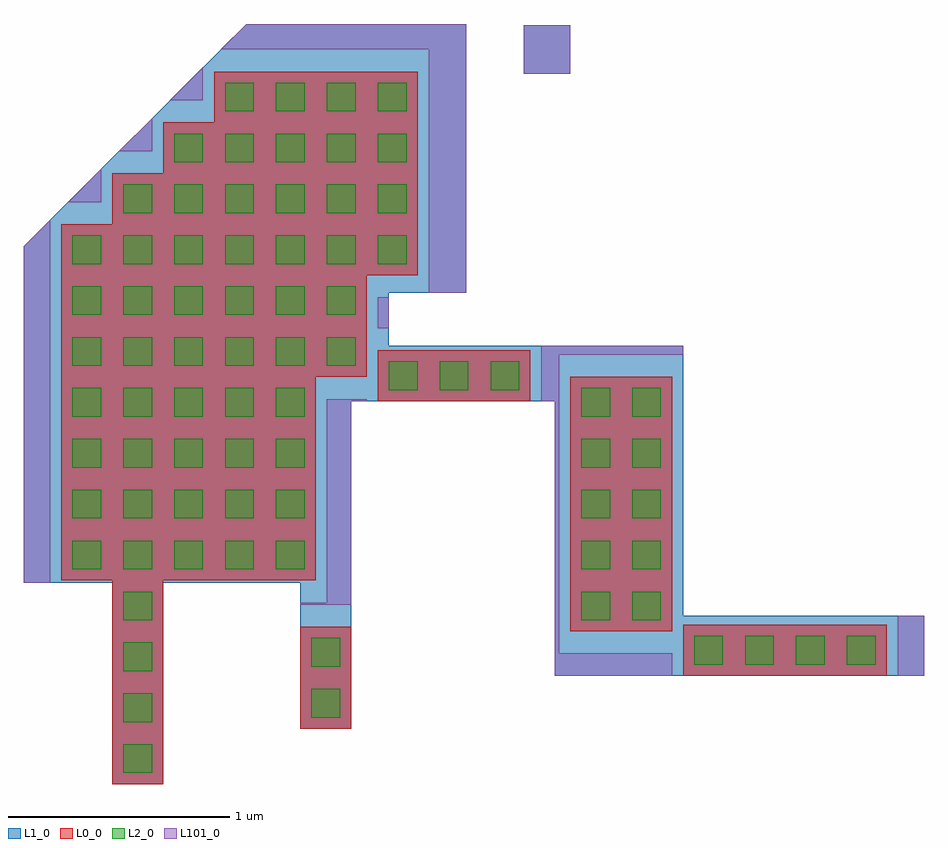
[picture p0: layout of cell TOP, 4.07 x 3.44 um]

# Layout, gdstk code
import gdstk
lib = gdstk.Library(unit=1e-6, precision=1e-09)
def R(c, l, rs):  # rectangles x0, y0, x1, y1
    for r in rs: c.add(gdstk.rectangle(r[:2], r[2:], *l))
def P(c, l, *ps):  # polygons
    for p in ps: c.add(gdstk.Polygon(p, *l))
L0_0 = (0, 0)
L1_0 = (1, 0)
L2_0 = (2, 0)
L101_0 = (101, 0)

fill_cell = lib.new_cell('FILL_CELL')
R(fill_cell, L0_0, [(-0.1,-0.13,0.13,0.1)])
R(fill_cell, L2_0, [(-0.05,-0.08,0.08,0.05)])

top = lib.new_cell('TOP')
R(top, L1_0, [(1.76,1.79,1.97,2.01)])
P(top, L1_0, [(-0.1,-1.42),(-0.1,-0.51),(-0.5,-0.51),(-0.5,1.01),(0.505,2.015),(1.5,2.015),(1.5,0.8),(1.15,0.8),(1.15,0.56),(2.48,0.56),(2.48,-0.66),(3.57,-0.66),(3.57,-0.93),(1.9,-0.93),(1.9,0.31),(0.98,0.31),(0.98,-1.17),(0.75,-1.17),(0.75,-0.51),(0.13,-0.51),(0.13,-1.42)])
R(top, L101_0, [(3.45,-0.93,3.57,-0.66), (1.1,0.64,1.15,0.78), (1.76,1.79,1.97,2.01)])
P(top, L101_0, [(-0.5,-0.51),(-0.5,1.01),(-0.38,1.13),(-0.38,-0.51)],
  [(-0.3,1.21),(-0.15,1.36),(-0.15,1.21)],
  [(-0.07,1.44),(0.08,1.59),(0.08,1.44)],
  [(0.16,1.67),(0.31,1.82),(0.31,1.67)],
  [(1.33,0.8),(1.33,1.9),(0.39,1.9),(0.505,2.015),(1.5,2.015),(1.5,0.8)],
  [(0.75,-0.61),(0.75,-0.6),(0.87,-0.6),(0.87,0.32),(1.05,0.32),(1.05,0.31),(0.98,0.31),(0.98,-0.61)],
  [(1.9,-0.93),(1.9,0.31),(1.84,0.31),(1.84,0.56),(2.48,0.56),(2.48,0.52),(1.92,0.52),(1.92,-0.83),(2.43,-0.83),(2.43,-0.93)])
r = gdstk.Reference(fill_cell, (-0.23,-0.37)); r.repetition = gdstk.Repetition(1, 7, v1=(0,0), v2=(0,0.23)); top.add(r)
r = gdstk.Reference(fill_cell, (0,-1.29)); r.repetition = gdstk.Repetition(1, 12, v1=(0,0), v2=(0,0.23)); top.add(r)
r = gdstk.Reference(fill_cell, (0.23,-0.37)); r.repetition = gdstk.Repetition(1, 9, v1=(0,0), v2=(0,0.23)); top.add(r)
r = gdstk.Reference(fill_cell, (0.46,-0.37)); r.repetition = gdstk.Repetition(1, 10, v1=(0,0), v2=(0,0.23)); top.add(r)
r = gdstk.Reference(fill_cell, (0.69,-0.37)); r.repetition = gdstk.Repetition(1, 10, v1=(0,0), v2=(0,0.23)); top.add(r)
r = gdstk.Reference(fill_cell, (0.92,0.55)); r.repetition = gdstk.Repetition(1, 6, v1=(0,0), v2=(0,0.23)); top.add(r)
r = gdstk.Reference(fill_cell, (1.15,1.01)); r.repetition = gdstk.Repetition(1, 4, v1=(0,0), v2=(0,0.23)); top.add(r)
r = gdstk.Reference(fill_cell, (2.07,-0.6)); r.repetition = gdstk.Repetition(1, 5, v1=(0,0), v2=(0,0.23)); top.add(r)
r = gdstk.Reference(fill_cell, (2.3,-0.6)); r.repetition = gdstk.Repetition(1, 5, v1=(0,0), v2=(0,0.23)); top.add(r)
top.add(gdstk.Reference(fill_cell, (2.58,-0.8)))
top.add(gdstk.Reference(fill_cell, (2.81,-0.8)))
top.add(gdstk.Reference(fill_cell, (3.04,-0.8)))
top.add(gdstk.Reference(fill_cell, (3.27,-0.8)))
r = gdstk.Reference(fill_cell, (0.85,-1.04)); r.repetition = gdstk.Repetition(1, 2, v1=(0,0), v2=(0,0.23)); top.add(r)
top.add(gdstk.Reference(fill_cell, (1.2,0.44)))
top.add(gdstk.Reference(fill_cell, (1.43,0.44)))
top.add(gdstk.Reference(fill_cell, (1.66,0.44)))

lib.write_gds('TOP.gds')
